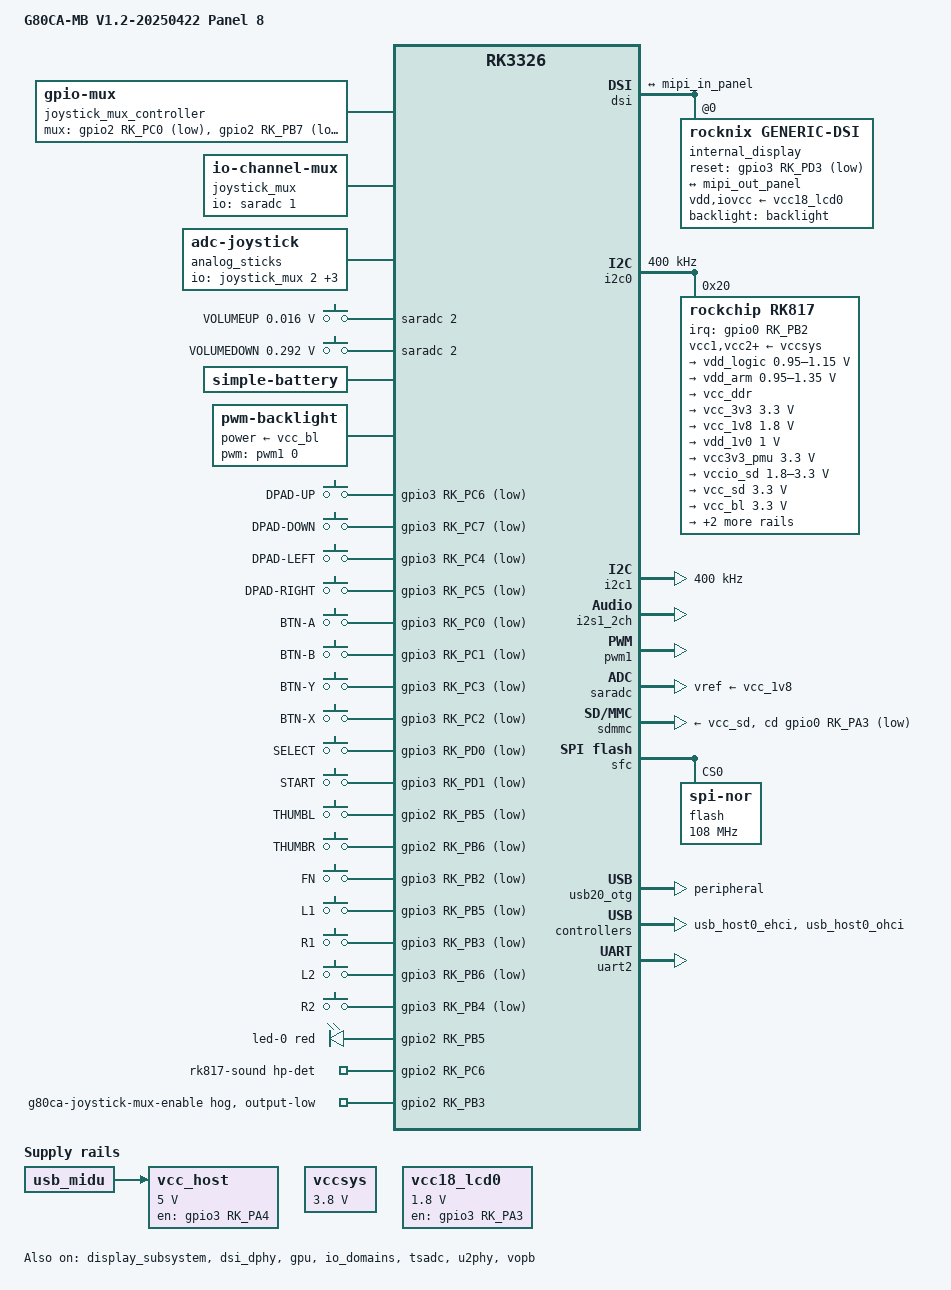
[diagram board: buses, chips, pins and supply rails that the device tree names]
// SPDX-License-Identifier: (GPL-2.0+ OR MIT)
/*
 * Copyright (c) 2024 Andre Renaud <andre@ignavus.net>
 * R36S device tree for mainline Linux kernel.
 * Uses ROCKNIX generic-dsi panel driver with NV3051D init sequence (ArkOS Panel 4).
 */

/dts-v1/;
#include <dt-bindings/gpio/gpio.h>
#include <dt-bindings/input/input.h>
#include <dt-bindings/leds/common.h>
#include <dt-bindings/pinctrl/rockchip.h>
#include "rk3326.dtsi"

/ {
	model = "G80CA-MB V1.2-20250422 Panel 8";
	compatible = "bitflipunix,g80ca-r36s-panel8", "rockchip,rk3326";

	aliases {
		mmc0 = &sdmmc;
		serial2 = &uart2;
	};

	chosen {
		stdout-path = "serial2:1500000n8";
	};

	joystick_mux_controller: mux-controller {
		compatible = "gpio-mux";
		#mux-control-cells = <0>;

		/* Exact G80CA single-ADC mux select lines. */
		mux-gpios = <&gpio2 RK_PC0 GPIO_ACTIVE_LOW>,
			    <&gpio2 RK_PB7 GPIO_ACTIVE_LOW>;
	};

	joystick_mux: adc-mux {
		compatible = "io-channel-mux";
		io-channels = <&saradc 1>;
		io-channel-names = "parent";
		#io-channel-cells = <1>;

		mux-controls = <&joystick_mux_controller>;
		channels = "0", "1", "2", "3";
	};

	analog_sticks: adc-joystick {
		compatible = "adc-joystick";

		/*
		 * Vendor mapping is <2 3 1 0> for
		 * ABS_RY, ABS_RX, ABS_Y, ABS_X respectively.
		 */
		io-channels = <&joystick_mux 2>,
			      <&joystick_mux 3>,
			      <&joystick_mux 1>,
			      <&joystick_mux 0>;
		poll-interval = <10>;
		#address-cells = <1>;
		#size-cells = <0>;

		axis@0 {
			reg = <0>;
			abs-flat = <32>;
			abs-fuzz = <32>;
			abs-range = <0 1800>;
			linux,code = <ABS_RY>;
		};

		axis@1 {
			reg = <1>;
			abs-flat = <32>;
			abs-fuzz = <32>;
			abs-range = <0 1800>;
			linux,code = <ABS_RX>;
		};

		axis@2 {
			reg = <2>;
			abs-flat = <32>;
			abs-fuzz = <32>;
			abs-range = <1800 0>;
			linux,code = <ABS_Y>;
		};

		axis@3 {
			reg = <3>;
			abs-flat = <32>;
			abs-fuzz = <32>;
			abs-range = <1800 0>;
			linux,code = <ABS_X>;
		};
	};

	adc_keys: adc-keys {
		compatible = "adc-keys";
		io-channels = <&saradc 2>;
		io-channel-names = "buttons";
		keyup-threshold-microvolt = <1800000>;
		poll-interval = <50>;

		button-volumeup {
			label = "VOLUMEUP";
			linux,code = <KEY_VOLUMEUP>;
			press-threshold-microvolt = <16000>;
		};

		button-volumedown {
			label = "VOLUMEDOWN";
			linux,code = <KEY_VOLUMEDOWN>;
			press-threshold-microvolt = <292000>;
		};
	};

	battery: battery {
		compatible = "simple-battery";
		charge-full-design-microamp-hours = <3000000>;
		charge-term-current-microamp = <300000>;
		constant-charge-current-max-microamp = <2000000>;
		constant-charge-voltage-max-microvolt = <4200000>;
		factory-internal-resistance-micro-ohms = <180000>;
		voltage-max-design-microvolt = <4100000>;
		voltage-min-design-microvolt = <3500000>;

		ocv-capacity-celsius = <20>;
		ocv-capacity-table-0 =  <4046950 100>, <4001920 95>, <3967900 90>, <3919950 85>,
					<3888450 80>, <3861850 75>, <3831540 70>, <3799130 65>,
					<3768190 60>, <3745650 55>, <3726610 50>, <3711630 45>,
					<3696720 40>, <3685660 35>, <3674950 30>, <3663050 25>,
					<3649470 20>, <3635260 15>, <3616920 10>, <3592440 5>,
					<3574170 0>;
	};

	backlight: backlight {
		compatible = "pwm-backlight";
		power-supply = <&vcc_bl>;
		pwms = <&pwm1 0 25000 0>;
		brightness-levels = <0 255>;
		num-interpolated-steps = <255>;
		default-brightness-level = <200>;
	};

	builtin_gamepad: gpio-keys {
		compatible = "gpio-keys";
		pinctrl-names = "default";
		pinctrl-0 = <&btn_pins>;

		button-dpad-up {
			gpios = <&gpio3 RK_PC6 GPIO_ACTIVE_LOW>;
			label = "DPAD-UP";
			linux,code = <BTN_DPAD_UP>;
		};
		button-dpad-down {
			gpios = <&gpio3 RK_PC7 GPIO_ACTIVE_LOW>;
			label = "DPAD-DOWN";
			linux,code = <BTN_DPAD_DOWN>;
		};
		button-dpad-left {
			gpios = <&gpio3 RK_PC4 GPIO_ACTIVE_LOW>;
			label = "DPAD-LEFT";
			linux,code = <BTN_DPAD_LEFT>;
		};
		button-dpad-right {
			gpios = <&gpio3 RK_PC5 GPIO_ACTIVE_LOW>;
			label = "DPAD-RIGHT";
			linux,code = <BTN_DPAD_RIGHT>;
		};
		button-a {
			gpios = <&gpio3 RK_PC0 GPIO_ACTIVE_LOW>;
			label = "BTN-A";
			linux,code = <BTN_EAST>;
		};
		button-b {
			gpios = <&gpio3 RK_PC1 GPIO_ACTIVE_LOW>;
			label = "BTN-B";
			linux,code = <BTN_SOUTH>;
		};
		button-y {
			gpios = <&gpio3 RK_PC3 GPIO_ACTIVE_LOW>;
			label = "BTN-Y";
			linux,code = <BTN_WEST>;
		};
		button-x {
			gpios = <&gpio3 RK_PC2 GPIO_ACTIVE_LOW>;
			label = "BTN-X";
			linux,code = <BTN_NORTH>;
		};
		button-select {
			gpios = <&gpio3 RK_PD0 GPIO_ACTIVE_LOW>;
			label = "SELECT";
			linux,code = <BTN_SELECT>;
		};
		button-start {
			gpios = <&gpio3 RK_PD1 GPIO_ACTIVE_LOW>;
			label = "START";
			linux,code = <BTN_START>;
		};
		button-thumbl {
			gpios = <&gpio2 RK_PB5 GPIO_ACTIVE_LOW>;
			label = "THUMBL";
			linux,code = <BTN_THUMBL>;
		};
		button-thumbr {
			gpios = <&gpio2 RK_PB6 GPIO_ACTIVE_LOW>;
			label = "THUMBR";
			linux,code = <BTN_THUMBR>;
		};
		button-fn {
			gpios = <&gpio3 RK_PB2 GPIO_ACTIVE_LOW>;
			label = "FN";
			linux,code = <BTN_MODE>;
		};
		button-l1 {
			gpios = <&gpio3 RK_PB5 GPIO_ACTIVE_LOW>;
			label = "L1";
			linux,code = <BTN_TL>;
		};
		button-r1 {
			gpios = <&gpio3 RK_PB3 GPIO_ACTIVE_LOW>;
			label = "R1";
			linux,code = <BTN_TR>;
		};
		button-l2 {
			gpios = <&gpio3 RK_PB6 GPIO_ACTIVE_LOW>;
			label = "L2";
			linux,code = <BTN_TL2>;
		};
		button-r2 {
			gpios = <&gpio3 RK_PB4 GPIO_ACTIVE_LOW>;
			label = "R2";
			linux,code = <BTN_TR2>;
		};
	};

	gpio_led: gpio-leds {
		compatible = "gpio-leds";
		pinctrl-names = "default";
		pinctrl-0 = <&led_pin>;

		led-0 {
			color = <LED_COLOR_ID_RED>;
			gpios = <&gpio2 RK_PB5 GPIO_ACTIVE_HIGH>;
			function = LED_FUNCTION_CHARGING;
		};
	};

	rk817-sound {
		compatible = "simple-audio-card";
		simple-audio-card,name = "rk817_int";
		simple-audio-card,format = "i2s";
		simple-audio-card,hp-det-gpio = <&gpio2 RK_PC6 GPIO_ACTIVE_HIGH>;
		simple-audio-card,mclk-fs = <256>;
		simple-audio-card,widgets =
			"Microphone", "Mic Jack",
			"Headphone", "Headphones",
			"Speaker", "Speaker";
		simple-audio-card,routing =
			"MICL", "Mic Jack",
			"Headphones", "HPOL",
			"Headphones", "HPOR",
			"Speaker", "SPKO";

		simple-audio-card,codec {
			sound-dai = <&rk817>;
		};

		simple-audio-card,cpu {
			sound-dai = <&i2s1_2ch>;
		};
	};

	vccsys: vccsys {
		compatible = "regulator-fixed";
		regulator-name = "vcc3v8_sys";
		regulator-always-on;
		regulator-min-microvolt = <3800000>;
		regulator-max-microvolt = <3800000>;
	};

	vcc18_lcd0: vcc18-lcd0 {
		compatible = "regulator-fixed";
		regulator-name = "vcc18_lcd0_n";
		regulator-min-microvolt = <1800000>;
		regulator-max-microvolt = <1800000>;
		gpio = <&gpio3 RK_PA3 GPIO_ACTIVE_HIGH>;
		enable-active-high;
		pinctrl-names = "default";
		pinctrl-0 = <&vcc18_lcd_n>;
		regulator-boot-on;
	};

	vcc_host: vcc_host {
		compatible = "regulator-fixed";
		regulator-name = "vcc_host";
		regulator-min-microvolt = <5000000>;
		regulator-max-microvolt = <5000000>;
		gpio = <&gpio3 RK_PA4 GPIO_ACTIVE_HIGH>;
		enable-active-high;
		pinctrl-names = "default";
		pinctrl-0 = <&vcc5_usb>;
		regulator-always-on;
		regulator-boot-on;
		vin-supply = <&usb_midu>;
	};
};

&cpu0 {
	cpu-supply = <&vdd_arm>;
};

&cpu1 {
	cpu-supply = <&vdd_arm>;
};

&cpu2 {
	cpu-supply = <&vdd_arm>;
};

&cpu3 {
	cpu-supply = <&vdd_arm>;
};

&cru {
	assigned-clocks = <&cru PLL_NPLL>,
		<&cru ACLK_BUS_PRE>, <&cru ACLK_PERI_PRE>,
		<&cru HCLK_BUS_PRE>, <&cru HCLK_PERI_PRE>,
		<&cru PCLK_BUS_PRE>, <&cru SCLK_GPU>;

	assigned-clock-rates = <1188000000>,
		<200000000>, <200000000>,
		<150000000>, <150000000>,
		<100000000>, <200000000>;
};

&display_subsystem {
	status = "okay";
};

&dsi {
	status = "okay";

	ports {
		mipi_out: port@1 {
			reg = <1>;

			mipi_out_panel: endpoint {
				remote-endpoint = <&mipi_in_panel>;
			};
		};
	};

	internal_display: panel@0 {
		compatible = "rocknix,generic-dsi";
		reg = <0>;
		backlight = <&backlight>;
		vdd-supply = <&vcc18_lcd0>;
		iovcc-supply = <&vcc18_lcd0>;
		reset-gpios = <&gpio3 RK_PD3 GPIO_ACTIVE_LOW>;
		pinctrl-names = "default";
		pinctrl-0 = <&panel_reset>;

		/*
		 * Exact G80CA-MB V1.2-20250422 Panel 8 parameters decoded from
		 * the known-good vendor DTB. Controller identifies as KD35T133.
		 */
		panel_description =
			"G size=153,85 delays=20,20,20,120,20 format=rgb888 lanes=4 flags=0xa03",
			"M clock=30000 horizontal=640,150,40,135 vertical=480,20,6,12 default=1",
			"I seq=b9f11283",
			"I seq=b1000000da80",
			"I seq=b2001370",
			"I seq=b31010282803ff00000000",
			"I seq=b480",
			"I seq=b50a0a",
			"I seq=b68282",
			"I seq=b82662f063",
			"I seq=ba338105f90e0e2000000000000000442500900a0000014f01000037",
			"I seq=bc47",
			"I seq=bf021100",
			"I seq=c0737350500000125000",
			"I seq=c15300323277d1cccc77773333",
			"I seq=c68200bfff00ff",
			"I seq=c7b8000a000000",
			"I seq=c810401e02",
			"I seq=cc0b",
			"I seq=e000070d37353f4144060c0d0f111012141a00070d37353f4144060c0d0f111012141a",
			"I seq=e307070b0b0b0b00000000ff00c010",
			"I seq=e9c810020000b0b11131232880b0b127080004020000000004020000008888ba60240888888888888888ba713518888888888800000001000000000000000000",
			"I seq=ea970a820203070000000000008188ba17538888888888888088ba0642888888888888230000028000000000000000000000000000000000000000000000",
			"I seq=efffff01",
			"I seq=11 wait=200",
			"I seq=29 wait=20";

		port {
			mipi_in_panel: endpoint {
				remote-endpoint = <&mipi_out_panel>;
			};
		};
	};
};

&dsi_dphy {
	status = "okay";
};

&gpu {
	mali-supply = <&vdd_logic>;
	status = "okay";
};

&i2c0 {
	clock-frequency = <400000>;
	i2c-scl-falling-time-ns = <16>;
	i2c-scl-rising-time-ns = <280>;
	status = "okay";

	rk817: pmic@20 {
		compatible = "rockchip,rk817";
		reg = <0x20>;
		interrupt-parent = <&gpio0>;
		interrupts = <RK_PB2 IRQ_TYPE_LEVEL_LOW>;
		clock-output-names = "rk808-clkout1", "xin32k";
		clock-names = "mclk";
		clocks = <&cru SCLK_I2S1_OUT>;
		pinctrl-names = "default";
		pinctrl-0 = <&pmic_int>, <&i2s1_2ch_mclk>;
		wakeup-source;
		#clock-cells = <1>;
		#sound-dai-cells = <0>;

		vcc1-supply = <&vccsys>;
		vcc2-supply = <&vccsys>;
		vcc3-supply = <&vccsys>;
		vcc4-supply = <&vccsys>;
		vcc5-supply = <&vccsys>;
		vcc6-supply = <&vccsys>;
		vcc7-supply = <&vccsys>;
		vcc8-supply = <&vccsys>;

		regulators {
			vdd_logic: DCDC_REG1 {
				regulator-name = "vdd_logic";
				regulator-min-microvolt = <950000>;
				regulator-max-microvolt = <1150000>;
				regulator-ramp-delay = <6001>;
				regulator-always-on;
				regulator-boot-on;

				regulator-state-mem {
					regulator-on-in-suspend;
					regulator-suspend-microvolt = <950000>;
				};
			};

			vdd_arm: DCDC_REG2 {
				regulator-name = "vdd_arm";
				regulator-min-microvolt = <950000>;
				regulator-max-microvolt = <1350000>;
				regulator-ramp-delay = <6001>;
				regulator-always-on;
				regulator-boot-on;

				regulator-state-mem {
					regulator-off-in-suspend;
					regulator-suspend-microvolt = <950000>;
				};
			};

			vcc_ddr: DCDC_REG3 {
				regulator-name = "vcc_ddr";
				regulator-always-on;
				regulator-boot-on;

				regulator-state-mem {
					regulator-on-in-suspend;
				};
			};

			vcc_3v3: DCDC_REG4 {
				regulator-name = "vcc_3v3";
				regulator-min-microvolt = <3300000>;
				regulator-max-microvolt = <3300000>;
				regulator-always-on;
				regulator-boot-on;

				regulator-state-mem {
					regulator-off-in-suspend;
					regulator-suspend-microvolt = <3300000>;
				};
			};

			vcc_1v8: LDO_REG2 {
				regulator-name = "vcc_1v8";
				regulator-min-microvolt = <1800000>;
				regulator-max-microvolt = <1800000>;
				regulator-always-on;
				regulator-boot-on;

				regulator-state-mem {
					regulator-on-in-suspend;
					regulator-suspend-microvolt = <1800000>;
				};
			};

			vdd_1v0: LDO_REG3 {
				regulator-name = "vdd_1v0";
				regulator-min-microvolt = <1000000>;
				regulator-max-microvolt = <1000000>;
				regulator-always-on;
				regulator-boot-on;

				regulator-state-mem {
					regulator-on-in-suspend;
					regulator-suspend-microvolt = <1000000>;
				};
			};

			vcc3v3_pmu: LDO_REG4 {
				regulator-name = "vcc3v3_pmu";
				regulator-min-microvolt = <3300000>;
				regulator-max-microvolt = <3300000>;
				regulator-always-on;
				regulator-boot-on;

				regulator-state-mem {
					regulator-on-in-suspend;
					regulator-suspend-microvolt = <3300000>;
				};
			};

			vccio_sd: LDO_REG5 {
				regulator-name = "vccio_sd";
				regulator-min-microvolt = <1800000>;
				regulator-max-microvolt = <3300000>;
				regulator-always-on;
				regulator-boot-on;

				regulator-state-mem {
					regulator-on-in-suspend;
					regulator-suspend-microvolt = <3300000>;
				};
			};

			vcc_sd: LDO_REG6 {
				regulator-name = "vcc_sd";
				regulator-min-microvolt = <3300000>;
				regulator-max-microvolt = <3300000>;
				regulator-boot-on;

				regulator-state-mem {
					regulator-on-in-suspend;
					regulator-suspend-microvolt = <3300000>;
				};
			};

			vcc_bl: LDO_REG7 {
				regulator-name = "vcc_bl";
				regulator-min-microvolt = <3300000>;
				regulator-max-microvolt = <3300000>;

				regulator-state-mem {
					regulator-off-in-suspend;
					regulator-suspend-microvolt = <3300000>;
				};
			};

			vcc_lcd: LDO_REG8 {
				regulator-name = "vcc_lcd";
				regulator-min-microvolt = <2800000>;
				regulator-max-microvolt = <2800000>;

				regulator-state-mem {
					regulator-off-in-suspend;
					regulator-suspend-microvolt = <2800000>;
				};
			};

			LDO_REG9 {
				/* unused */
			};

			usb_midu: BOOST {
				regulator-name = "usb_midu";
				regulator-min-microvolt = <5000000>;
				regulator-max-microvolt = <5400000>;
				regulator-always-on;
				regulator-boot-on;
			};
		};

		rk817_charger: charger {
			rockchip,resistor-sense-micro-ohms = <10000>;
			rockchip,sleep-enter-current-microamp = <300000>;
			rockchip,sleep-filter-current-microamp = <100000>;
			monitored-battery = <&battery>;
		};

		rk817_codec: codec {
			rockchip,mic-in-differential;
		};
	};
};

&i2c1 {
	clock-frequency = <400000>;
	status = "okay";
};

&i2s1_2ch {
	status = "okay";
};

&io_domains {
	vccio1-supply = <&vcc_3v3>;
	vccio2-supply = <&vccio_sd>;
	vccio3-supply = <&vcc_3v3>;
	vccio4-supply = <&vcc_3v3>;
	vccio5-supply = <&vcc_3v3>;
	vccio6-supply = <&vcc_3v3>;
	status = "okay";
};

&pmu_io_domains {
	pmuio1-supply = <&vcc3v3_pmu>;
	pmuio2-supply = <&vcc3v3_pmu>;
	status = "okay";
};

&pwm1 {
	status = "okay";
};

&saradc {
	vref-supply = <&vcc_1v8>;
	status = "okay";
};

&sdmmc {
	cap-sd-highspeed;
	card-detect-delay = <200>;
	cd-gpios = <&gpio0 RK_PA3 GPIO_ACTIVE_LOW>;
	sd-uhs-sdr12;
	sd-uhs-sdr25;
	sd-uhs-sdr50;
	sd-uhs-sdr104;
	vmmc-supply = <&vcc_sd>;
	vqmmc-supply = <&vccio_sd>;
	status = "okay";
};

&sfc {
	pinctrl-0 = <&sfc_clk &sfc_cs0 &sfc_bus2>;
	pinctrl-names = "default";
	#address-cells = <1>;
	#size-cells = <0>;
	status = "okay";

	flash@0 {
		compatible = "jedec,spi-nor";
		reg = <0>;
		spi-max-frequency = <108000000>;
		spi-rx-bus-width = <2>;
		spi-tx-bus-width = <1>;
	};
};

&tsadc {
	status = "okay";
};

&u2phy {
	status = "okay";

	u2phy_host: host-port {
		status = "okay";
	};

	u2phy_otg: otg-port {
		status = "okay";
	};
};

&usb20_otg {
	dr_mode = "peripheral";
	status = "okay";
};

&usb_host0_ehci {
	status = "okay";
};

&usb_host0_ohci {
	status = "okay";
};

&uart2 {
	pinctrl-names = "default";
	pinctrl-0 = <&uart2m1_xfer>;
	status = "okay";
};

&vopb {
	status = "okay";
};

&vopb_mmu {
	status = "okay";
};

&pinctrl {
	btns {
		btn_pins: btn-pins {
			rockchip,pins = <2 RK_PB5 RK_FUNC_GPIO &pcfg_pull_up>,
					<2 RK_PB6 RK_FUNC_GPIO &pcfg_pull_up>,
					<3 RK_PB2 RK_FUNC_GPIO &pcfg_pull_up>,
					<3 RK_PB3 RK_FUNC_GPIO &pcfg_pull_up>,
					<3 RK_PB4 RK_FUNC_GPIO &pcfg_pull_up>,
					<3 RK_PB5 RK_FUNC_GPIO &pcfg_pull_up>,
					<3 RK_PB6 RK_FUNC_GPIO &pcfg_pull_up>,
					<3 RK_PC0 RK_FUNC_GPIO &pcfg_pull_up>,
					<3 RK_PC1 RK_FUNC_GPIO &pcfg_pull_up>,
					<3 RK_PC2 RK_FUNC_GPIO &pcfg_pull_up>,
					<3 RK_PC3 RK_FUNC_GPIO &pcfg_pull_up>,
					<3 RK_PC4 RK_FUNC_GPIO &pcfg_pull_up>,
					<3 RK_PC5 RK_FUNC_GPIO &pcfg_pull_up>,
					<3 RK_PC6 RK_FUNC_GPIO &pcfg_pull_up>,
					<3 RK_PC7 RK_FUNC_GPIO &pcfg_pull_up>,
					<3 RK_PD0 RK_FUNC_GPIO &pcfg_pull_up>,
					<3 RK_PD1 RK_FUNC_GPIO &pcfg_pull_up>;
		};
	};

	headphone {
		hp_det: hp-det {
			rockchip,pins = <2 RK_PC6 RK_FUNC_GPIO &pcfg_pull_down>;
		};
	};

	panel {
		panel_reset: panel-reset {
			rockchip,pins = <3 RK_PD3 RK_FUNC_GPIO &pcfg_pull_none>;
		};
	};

	vcc18-lcd {
		vcc18_lcd_n: vcc18-lcd-n {
			rockchip,pins = <3 RK_PA3 RK_FUNC_GPIO &pcfg_pull_none>;
		};
	};

	vcc5-usb {
		vcc5_usb: vcc5-usb {
			rockchip,pins = <3 RK_PA4 RK_FUNC_GPIO &pcfg_pull_none>;
		};
	};

	leds {
		led_pin: led-pin {
			rockchip,pins = <2 RK_PB5 RK_FUNC_GPIO &pcfg_pull_none>;
		};
	};

	pmic {
		dc_det: dc-det {
			rockchip,pins = <0 RK_PB3 RK_FUNC_GPIO &pcfg_pull_none>;
		};

		pmic_int: pmic-int {
			rockchip,pins = <0 RK_PB2 RK_FUNC_GPIO &pcfg_pull_up>;
		};

		soc_slppin_gpio: soc_slppin_gpio {
			rockchip,pins = <0 RK_PA4 RK_FUNC_GPIO &pcfg_output_low>;
		};

		soc_slppin_rst: soc_slppin_rst {
			rockchip,pins = <0 RK_PA4 2 &pcfg_pull_none>;
		};

		soc_slppin_slp: soc_slppin_slp {
			rockchip,pins = <0 RK_PA4 1 &pcfg_pull_none>;
		};
	};


};


&gpio2 {
	joystick_mux_enable_hog {
		gpio-hog;
		gpios = <RK_PB3 GPIO_ACTIVE_HIGH>;
		output-low;
		line-name = "g80ca-joystick-mux-enable";
	};
};
